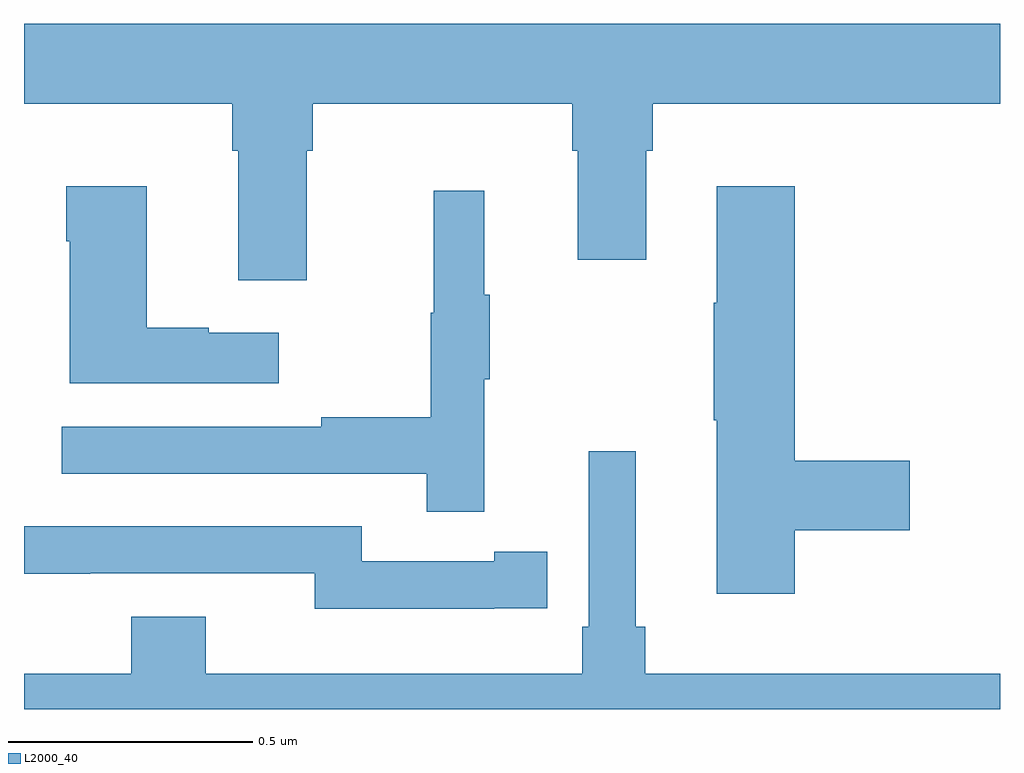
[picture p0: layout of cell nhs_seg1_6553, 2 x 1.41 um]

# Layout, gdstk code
import gdstk
lib = gdstk.Library(unit=1e-6, precision=1e-09)
def P(c, l, *ps):  # polygons
    for p in ps: c.add(gdstk.Polygon(p, *l))
L2000_40 = (2000, 40)

nhs_seg1_6553 = lib.new_cell('nhs_seg1_6553')
P(nhs_seg1_6553, L2000_40, [(193.579,510.344),(193.592,510.344),(193.592,510.44),(194.123,510.44),(194.123,510.344),(194.135,510.344),(194.135,510.12),(194.275,510.12),(194.275,510.344),(194.288,510.344),(194.288,510.44),(195,510.44),(195,510.604),(193,510.604),(193,510.44),(193.427,510.44),(193.427,510.344),(193.439,510.344),(193.439,510.078),(193.579,510.078)],
  [(194.579,509.566),(194.815,509.566),(194.815,509.708),(194.579,509.708),(194.579,510.271),(194.42,510.271),(194.42,510.032),(194.413,510.032),(194.413,509.791),(194.42,509.791),(194.42,509.436),(194.579,509.436)],
  [(193.522,509.971),(193.379,509.971),(193.379,509.981),(193.252,509.981),(193.252,510.271),(193.087,510.271),(193.087,510.158),(193.094,510.158),(193.094,509.867),(193.522,509.867)],
  [(193.943,509.875),(193.954,509.875),(193.954,510.049),(193.943,510.049),(193.943,510.262),(193.84,510.262),(193.84,510.012),(193.833,510.012),(193.833,509.798),(193.609,509.798),(193.609,509.778),(193.077,509.778),(193.077,509.682),(193.825,509.682),(193.825,509.604),(193.943,509.604)],
  [(195,509.272),(194.273,509.272),(194.273,509.368),(194.254,509.368),(194.254,509.728),(194.157,509.728),(194.157,509.368),(194.144,509.368),(194.144,509.272),(193.372,509.272),(193.372,509.389),(193.22,509.389),(193.22,509.272),(193,509.272),(193,509.199),(195,509.199)],
  [(193.964,509.406),(194.072,509.406),(194.072,509.522),(193.964,509.522),(193.964,509.502),(193.692,509.502),(193.692,509.574),(193,509.574),(193,509.477),(193.136,509.477),(193.136,509.478),(193.596,509.478),(193.596,509.405),(193.964,509.405)])

lib.write_gds('nhs_seg1_6553.gds')
